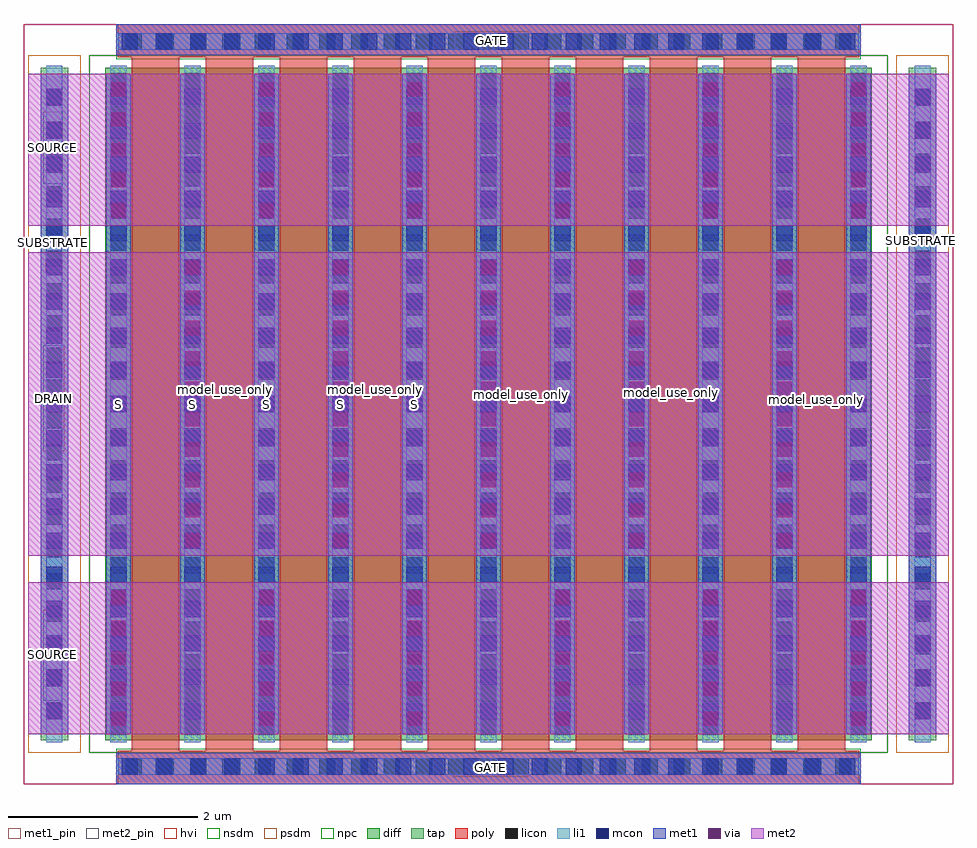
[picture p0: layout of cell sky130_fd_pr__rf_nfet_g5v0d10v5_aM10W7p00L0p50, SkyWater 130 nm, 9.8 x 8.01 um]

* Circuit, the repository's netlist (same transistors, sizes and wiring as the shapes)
* Copyright 2020 The SkyWater PDK Authors
*
* Licensed under the Apache License, Version 2.0 (the "License");
* you may not use this file except in compliance with the License.
* You may obtain a copy of the License at
*
*     https://www.apache.org/licenses/LICENSE-2.0
*
* Unless required by applicable law or agreed to in writing, software
* distributed under the License is distributed on an "AS IS" BASIS,
* WITHOUT WARRANTIES OR CONDITIONS OF ANY KIND, either express or implied.
* See the License for the specific language governing permissions and
* limitations under the License.
*
* SPDX-License-Identifier: Apache-2.0


.subckt sky130_fd_pr__rf_nfet_g5v0d10v5_aM10W7p00L0p50 DRAIN GATE SOURCE SUBSTRATE
X0 SOURCE GATE DRAIN SUBSTRATE sky130_fd_pr__nfet_g5v0d10v5 w=7.09e+06u l=500000u
X1 DRAIN GATE SOURCE SUBSTRATE sky130_fd_pr__nfet_g5v0d10v5 w=7.09e+06u l=500000u
X2 SOURCE GATE DRAIN SUBSTRATE sky130_fd_pr__nfet_g5v0d10v5 w=7.09e+06u l=500000u
X3 DRAIN GATE SOURCE SUBSTRATE sky130_fd_pr__nfet_g5v0d10v5 w=7.09e+06u l=500000u
X4 DRAIN GATE SOURCE SUBSTRATE sky130_fd_pr__nfet_g5v0d10v5 w=7.09e+06u l=500000u
X5 SOURCE GATE DRAIN SUBSTRATE sky130_fd_pr__nfet_g5v0d10v5 w=7.09e+06u l=500000u
X6 DRAIN GATE SOURCE SUBSTRATE sky130_fd_pr__nfet_g5v0d10v5 w=7.09e+06u l=500000u
X7 SOURCE GATE DRAIN SUBSTRATE sky130_fd_pr__nfet_g5v0d10v5 w=7.09e+06u l=500000u
X8 SOURCE GATE DRAIN SUBSTRATE sky130_fd_pr__nfet_g5v0d10v5 w=7.09e+06u l=500000u
X9 DRAIN GATE SOURCE SUBSTRATE sky130_fd_pr__nfet_g5v0d10v5 w=7.09e+06u l=500000u
.ends

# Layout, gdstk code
import gdstk
lib = gdstk.Library(unit=1e-6, precision=1e-09)
def R(c, l, rs):  # rectangles x0, y0, x1, y1
    for r in rs: c.add(gdstk.rectangle(r[:2], r[2:], *l))
def A(c, l, x, y, w, h, nx, ny, dx, dy):  # array of equal rectangles
    R(c, l, [(x+i*dx, y+j*dy, x+i*dx+w, y+j*dy+h) for i in range(nx) for j in range(ny)])
diff = (65, 20)
tap = (65, 44)
poly = (66, 20)
licon = (66, 44)
li1 = (67, 20)
mcon = (67, 44)
met1_pin = (68, 16)
met1 = (68, 20)
via = (68, 44)
met2_pin = (69, 16)
met2 = (69, 20)
hvi = (75, 20)
nsdm = (93, 44)
psdm = (94, 20)
npc = (95, 20)

sky130_fd_pr__rf_nfet_g5 = lib.new_cell('sky130_fd_pr__rf_nfet_g5v0d10v5_aM10W7p00L0p50')
R(sky130_fd_pr__rf_nfet_g5, diff, [(0.86,0.46,8.94,7.55)])
R(sky130_fd_pr__rf_nfet_g5, tap, [(0.18,0.46,0.47,7.55), (9.33,0.46,9.62,7.55)])
A(sky130_fd_pr__rf_nfet_g5, poly, 1.14, 0.35, 0.5, 7.31, 10, 1, 0.78, 0)
R(sky130_fd_pr__rf_nfet_g5, poly, [(0.995,0,8.805,0.35), (0.995,7.66,8.805,8.01)])
A(sky130_fd_pr__rf_nfet_g5, licon, 1.075, 0.1, 0.17, 0.17, 23, 2, 0.34, 7.64)
A(sky130_fd_pr__rf_nfet_g5, licon, 0.915, 0.52, 0.17, 0.17, 11, 21, 0.78, 0.34)
A(sky130_fd_pr__rf_nfet_g5, licon, 0.24, 0.69, 0.17, 0.17, 1, 20, 0, 0.34)
A(sky130_fd_pr__rf_nfet_g5, licon, 9.39, 0.69, 0.17, 0.17, 1, 20, 0, 0.34)
A(sky130_fd_pr__rf_nfet_g5, li1, 0.915, 0.44, 0.17, 7.13, 11, 1, 0.78, 0)
A(sky130_fd_pr__rf_nfet_g5, li1, 0.915, 2.66, 0.17, 2.69, 11, 1, 0.78, 0)
R(sky130_fd_pr__rf_nfet_g5, li1, [(0.995,0.1,8.805,0.27), (1.035,0.1,8.765,0.27), (0.24,0.44,0.41,7.57), (9.39,0.44,9.56,7.57), (0.24,0.61,0.41,7.4), (0.24,0.61,0.41,7.4), (9.39,0.61,9.56,7.4), (9.39,0.61,9.56,7.4), (0.24,2.65,0.41,5.36), (0.24,2.65,0.41,5.36), (9.39,2.65,9.56,5.36), (9.39,2.65,9.56,5.36), (0.24,2.66,0.41,5.35), (9.39,2.66,9.56,5.35), (0.995,7.74,8.805,7.91), (1.035,7.74,8.765,7.91)])
A(sky130_fd_pr__rf_nfet_g5, mcon, 1.035, 0.1, 0.17, 0.17, 22, 2, 0.36, 7.64)
A(sky130_fd_pr__rf_nfet_g5, mcon, 0.24, 0.68, 0.17, 0.17, 1, 19, 0, 0.36)
A(sky130_fd_pr__rf_nfet_g5, mcon, 0.915, 0.68, 0.17, 0.17, 11, 19, 0.78, 0.36)
A(sky130_fd_pr__rf_nfet_g5, mcon, 9.39, 0.68, 0.17, 0.17, 1, 19, 0, 0.36)
R(sky130_fd_pr__rf_nfet_g5, met1_pin, [(4.53,0.075,5.32,0.27), (0.235,5.385,0.4,6.025), (9.39,5.43,9.535,6.025), (4.545,7.74,5.32,7.935)])
A(sky130_fd_pr__rf_nfet_g5, met1, 0.87, 0.525, 0.26, 6.96, 11, 1, 0.78, 0)
A(sky130_fd_pr__rf_nfet_g5, met1, 0.87, 0.525, 0.26, 1.6, 6, 2, 1.56, 5.36)
A(sky130_fd_pr__rf_nfet_g5, met1, 1.65, 2.405, 0.26, 3.2, 5, 1, 1.56, 0)
R(sky130_fd_pr__rf_nfet_g5, met1, [(0.975,0,8.825,0.33), (0.18,0.525,0.47,7.485), (9.33,0.525,9.62,7.485), (0.975,7.68,8.825,8.01)])
A(sky130_fd_pr__rf_nfet_g5, via, 0.925, 0.61, 0.15, 0.15, 6, 5, 1.56, 0.32)
A(sky130_fd_pr__rf_nfet_g5, via, 1.705, 2.49, 0.15, 0.15, 5, 10, 1.56, 0.32)
A(sky130_fd_pr__rf_nfet_g5, via, 0.925, 5.97, 0.15, 0.15, 6, 5, 1.56, 0.32)
R(sky130_fd_pr__rf_nfet_g5, met2_pin, [(0.205,0.88,0.4,1.835), (0.205,3.505,0.43,4.625), (0.205,6.325,0.415,7.085)])
A(sky130_fd_pr__rf_nfet_g5, met2, 0.87, 0.525, 0.26, 1.6, 6, 2, 1.56, 5.36)
A(sky130_fd_pr__rf_nfet_g5, met2, 1.65, 2.405, 0.26, 3.2, 5, 1, 1.56, 0)
R(sky130_fd_pr__rf_nfet_g5, met2, [(0.05,0.525,9.75,2.125), (0.05,2.405,9.75,5.605), (0.05,5.885,9.75,7.485)])
R(sky130_fd_pr__rf_nfet_g5, hvi, [(0,0,9.8,8.01)])
R(sky130_fd_pr__rf_nfet_g5, nsdm, [(0.69,0.33,9.11,7.68)])
R(sky130_fd_pr__rf_nfet_g5, psdm, [(0.05,0.33,0.6,7.68), (9.2,0.33,9.75,7.68)])
R(sky130_fd_pr__rf_nfet_g5, npc, [(0.975,0,8.825,0.37), (0.975,7.64,8.825,8.01)])
sky130_fd_pr__rf_nfet_g5.add(gdstk.Label('model_use_only', (8.36,4.055), layer=66, texttype=83))
sky130_fd_pr__rf_nfet_g5.add(gdstk.Label('model_use_only', (7.615,4.115), layer=66, texttype=83))
sky130_fd_pr__rf_nfet_g5.add(gdstk.Label('model_use_only', (6.825,4.13), layer=66, texttype=83))
sky130_fd_pr__rf_nfet_g5.add(gdstk.Label('model_use_only', (6.065,4.145), layer=66, texttype=83))
sky130_fd_pr__rf_nfet_g5.add(gdstk.Label('model_use_only', (5.245,4.1), layer=66, texttype=83))
sky130_fd_pr__rf_nfet_g5.add(gdstk.Label('model_use_only', (4.455,4.13), layer=66, texttype=83))
sky130_fd_pr__rf_nfet_g5.add(gdstk.Label('model_use_only', (3.71,4.16), layer=66, texttype=83))
sky130_fd_pr__rf_nfet_g5.add(gdstk.Label('model_use_only', (2.905,4.085), layer=66, texttype=83))
sky130_fd_pr__rf_nfet_g5.add(gdstk.Label('model_use_only', (2.13,4.16), layer=66, texttype=83))
sky130_fd_pr__rf_nfet_g5.add(gdstk.Label('model_use_only', (1.365,4.115), layer=66, texttype=83))
sky130_fd_pr__rf_nfet_g5.add(gdstk.Label('S', (1,4.005), layer=83, texttype=44))
sky130_fd_pr__rf_nfet_g5.add(gdstk.Label('S', (1,4.005), layer=83, texttype=44))
sky130_fd_pr__rf_nfet_g5.add(gdstk.Label('S', (1.78,4.005), layer=83, texttype=44))
sky130_fd_pr__rf_nfet_g5.add(gdstk.Label('D', (1.78,4.005), layer=83, texttype=44))
sky130_fd_pr__rf_nfet_g5.add(gdstk.Label('S', (2.56,4.005), layer=83, texttype=44))
sky130_fd_pr__rf_nfet_g5.add(gdstk.Label('S', (2.56,4.005), layer=83, texttype=44))
sky130_fd_pr__rf_nfet_g5.add(gdstk.Label('S', (3.34,4.005), layer=83, texttype=44))
sky130_fd_pr__rf_nfet_g5.add(gdstk.Label('D', (3.34,4.005), layer=83, texttype=44))
sky130_fd_pr__rf_nfet_g5.add(gdstk.Label('S', (4.12,4.005), layer=83, texttype=44))
sky130_fd_pr__rf_nfet_g5.add(gdstk.Label('D', (4.12,4.005), layer=83, texttype=44))
sky130_fd_pr__rf_nfet_g5.add(gdstk.Label('S', (4.9,4.005), layer=83, texttype=44))
sky130_fd_pr__rf_nfet_g5.add(gdstk.Label('S', (4.9,4.005), layer=83, texttype=44))
sky130_fd_pr__rf_nfet_g5.add(gdstk.Label('S', (5.68,4.005), layer=83, texttype=44))
sky130_fd_pr__rf_nfet_g5.add(gdstk.Label('D', (5.68,4.005), layer=83, texttype=44))
sky130_fd_pr__rf_nfet_g5.add(gdstk.Label('D', (6.46,4.005), layer=83, texttype=44))
sky130_fd_pr__rf_nfet_g5.add(gdstk.Label('S', (6.46,4.005), layer=83, texttype=44))
sky130_fd_pr__rf_nfet_g5.add(gdstk.Label('S', (7.24,4.005), layer=83, texttype=44))
sky130_fd_pr__rf_nfet_g5.add(gdstk.Label('S', (7.24,4.005), layer=83, texttype=44))
sky130_fd_pr__rf_nfet_g5.add(gdstk.Label('D', (8.02,4.005), layer=83, texttype=44))
sky130_fd_pr__rf_nfet_g5.add(gdstk.Label('S', (8.02,4.005), layer=83, texttype=44))
sky130_fd_pr__rf_nfet_g5.add(gdstk.Label('S', (8.8,4.005), layer=83, texttype=44))
sky130_fd_pr__rf_nfet_g5.add(gdstk.Label('DRAIN', (0.32,4.065), layer=69, texttype=5))
sky130_fd_pr__rf_nfet_g5.add(gdstk.Label('SOURCE', (0.31,6.705), layer=69, texttype=5))
sky130_fd_pr__rf_nfet_g5.add(gdstk.Label('SOURCE', (0.305,1.36), layer=69, texttype=5))
sky130_fd_pr__rf_nfet_g5.add(gdstk.Label('SUBSTRATE', (9.465,5.73), layer=68, texttype=5))
sky130_fd_pr__rf_nfet_g5.add(gdstk.Label('GATE', (4.935,7.84), layer=68, texttype=5))
sky130_fd_pr__rf_nfet_g5.add(gdstk.Label('GATE', (4.925,0.175), layer=68, texttype=5))
sky130_fd_pr__rf_nfet_g5.add(gdstk.Label('SUBSTRATE', (0.32,5.705), layer=68, texttype=5))

lib.write_gds('sky130_fd_pr__rf_nfet_g5v0d10v5_aM10W7p00L0p50.gds')
